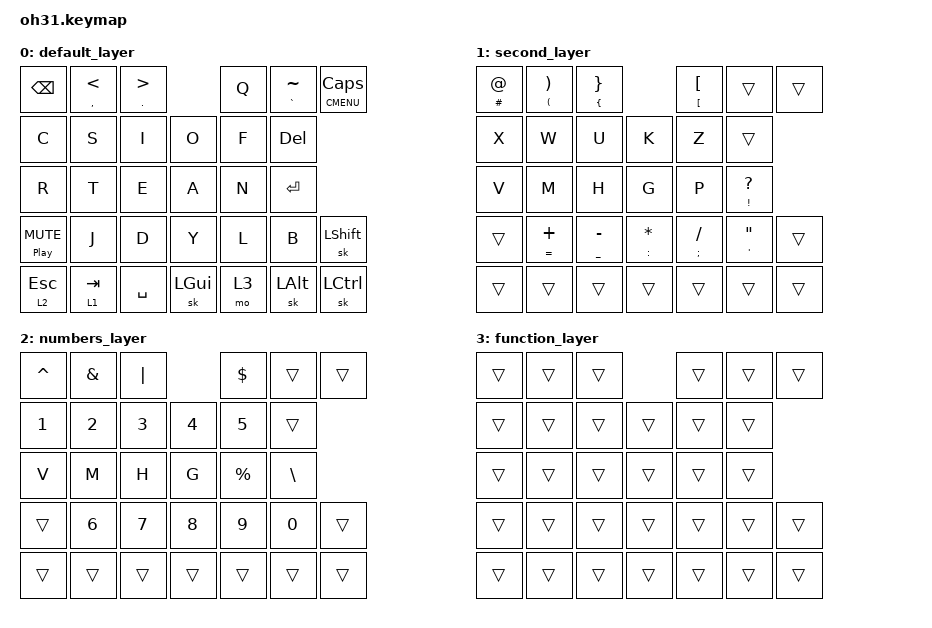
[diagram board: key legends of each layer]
#include <behaviors.dtsi>
#include <dt-bindings/zmk/keys.h>

/ {
    keymap {
        compatible = "zmk,keymap";

        default_layer {
			// ------------------------------------------------------------------------------------------------------------
			//	        | BSPC  |   ,   |   .   |   Q   |   `   | CMENU |
			//	        |   C   |   S   |   I   |   O   |   F   |  DEL  |
			//	        |   R   |   T   |   E   |   A   |   N   |  RET  |
			//	| MUTE  |   J   |   D   |   Y   |   L   |   B   | SHIFT |
			//	|  MO2  |  MO1  | SPACE | SUPER |  MO3  |  ALT  | CTRL  |

            bindings = <
				&kp BSPC &mt COMMA LT &mt DOT GT &kp Q &mt GRAVE TILDE &mt K_CMENU CAPS
				&kp C &kp S &kp I &kp O &kp F &kp DEL
				&kp R &kp T &kp E &kp A &kp N &kp RET
				&mt C_PP C_MUTE &kp J &kp D &kp Y &kp L &kp B	 &sk LSHFT
				&lt 2 ESC &lt 1 TAB &kp SPACE &sk LGUI &mo 3 &sk LALT &sk LCTRL
            >;
        };
        
        second_layer {
			// ------------------------------------------------------------------------------------------------------------
			//	        |   #   |   (   |   {   |   [   |       |       |
			//	        |   X   |   W   |   U   |   K   |   Z   |       |
			//	        |   V   |   M   |   H   |   G   |   P   |   !   |
			//	|       |   =   |   _   |   :   |   ;   |   '   |       |
			//	|       |       |       |       |       |       |       |

            bindings = <
				&mt HASH AT &mt LPAR RPAR &mt LBRC RBRC &mt LBKT LBKT &trans &trans
				&kp X &kp W &kp U &kp K &kp Z &trans
				&kp V &kp M &kp H &kp G &kp P &mt EXCL QMARK
				&trans &mt EQUAL PLUS &mt UNDER MINUS &mt COLON STAR &mt SEMI FSLH &mt SQT DQT &trans
				&trans &trans &trans &trans &trans &trans &trans
            >;
        };
        
        numbers_layer {
			// ------------------------------------------------------------------------------------------------------------
			//	        |   ^   |   &   |   |   |   $   |       |       |
			//	        |   1   |   2   |   3   |   4   |   5   |       |
			//	        | L-ARR | D-ARR | U-ARR | R-ARR |   %   |   \   |
			//	|       |   6   |   7   |   8   |   9   |   0   |       |
			//	|       |       |       |       |       |       |       |

            bindings = <
				&kp CARET &kp AMPS &kp PIPE &kp DLLR &trans &trans
				&kp N1 &kp N2 &kp N3 &kp N4 &kp N5 &trans
				&kp V &kp M &kp H &kp G &kp PRCNT &kp BSLH
				&trans &kp N6 &kp N7 &kp N8 &kp N9 &kp N0 &trans
				&trans &trans &trans &trans &trans &trans &trans
            >;
        };
        
        function_layer {
			// ------------------------------------------------------------------------------------------------------------
			//	        |       |       |       |       |       |       |
			//	        |  F1   |  F2   |  F3   |  F4   |  F5   |  F6   |
			//	        |       |       |       |       |       |       |
			//	|       |       |       |       |       |       |       |
			//	|       |       |       |       |       |       |       |

            bindings = <
				&trans &trans &trans &trans &trans &trans
				&trans &trans &trans &trans &trans &trans
				&trans &trans &trans &trans &trans &trans
				&trans &trans &trans &trans &trans &trans &trans
				&trans &trans &trans &trans &trans &trans &trans
            >;
        };
    };
};
